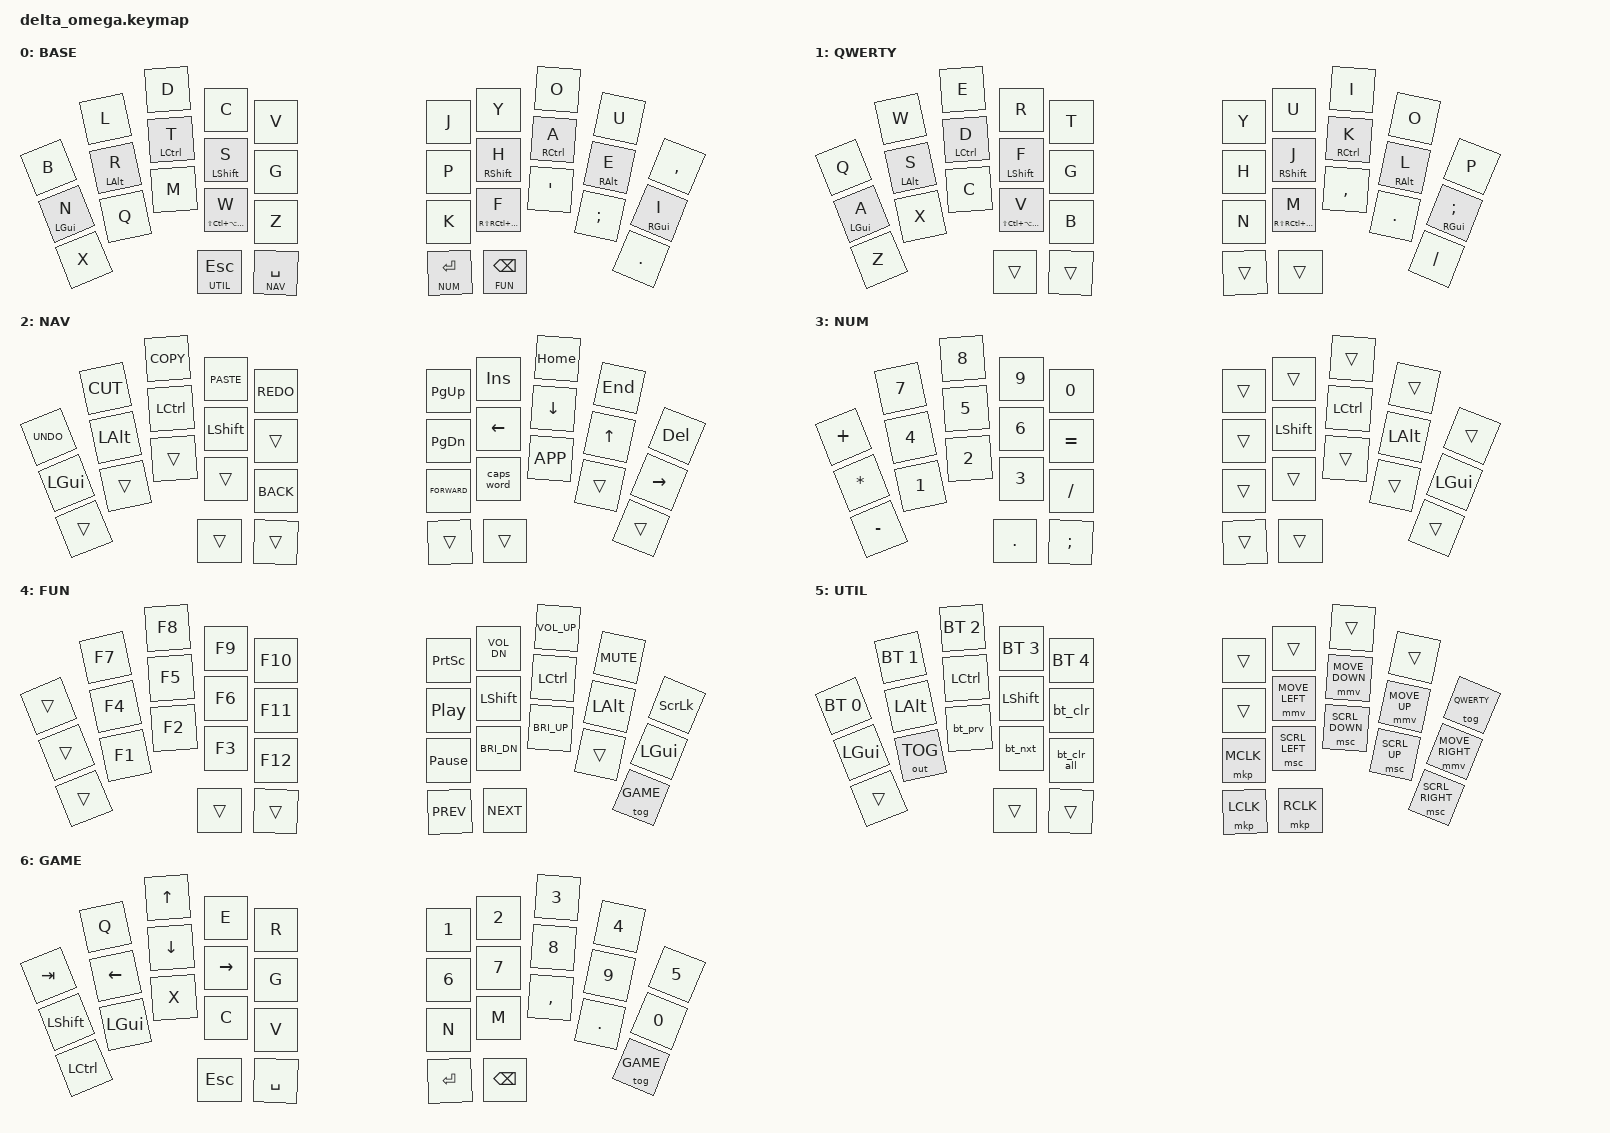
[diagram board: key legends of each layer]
// Delta Omega — Gallium layout ported from totem
// Home row mods (GACS), combos, mod-morphs, caps word
// ── Mouse speed tuning ──────────────────────────────────────────────

#define MOUSE_TIME_TO_MAX_SPEED 800
#define U_MOUSE_MOVE_MAX 3000
#define U_MOUSE_SCROLL_MAX 20

// Must precede pointing.h so the defaults are overridden

#define ZMK_POINTING_DEFAULT_MOVE_VAL U_MOUSE_MOVE_MAX
#define ZMK_POINTING_DEFAULT_SCRL_VAL U_MOUSE_SCROLL_MAX

#include <behaviors.dtsi>
#include <behaviors/rgbled_widget.dtsi>
#include <dt-bindings/zmk/bt.h>
#include <dt-bindings/zmk/keys.h>
#include <dt-bindings/zmk/outputs.h>
#include <dt-bindings/zmk/pointing.h>

#define BASE   0
#define QWERTY 1
#define NAV    2
#define NUM    3
#define FUN    4
#define UTIL   5
#define GAME   6

// Key position groups (34-key, no side keys):
//          0  1  2  3  4     5  6  7  8  9       <- top
//         10 11 12 13 14    15 16 17 18 19       <- home
//         20 21 22 23 24    25 26 27 28 29       <- bottom
//                     30 31    32 33              <- thumbs

#define KEYS_L 0 1 2 3 4 10 11 12 13 14 20 21 22 23 24
#define KEYS_R 5 6 7 8 9 15 16 17 18 19 25 26 27 28 29
#define THUMBS 30 31 32 33

// Mouse behavior tuning

&mmv { time-to-max-speed-ms = <MOUSE_TIME_TO_MAX_SPEED>; };

&msc { time-to-max-speed-ms = <MOUSE_TIME_TO_MAX_SPEED>; };

/ {
    macros {
        bt_nxt: bt_nxt {
            compatible = "zmk,behavior-macro";
            #binding-cells = <0>;
            bindings = <&bt BT_NXT>, <&ind_nxt>;
        };

        bt_prv: bt_prv {
            compatible = "zmk,behavior-macro";
            #binding-cells = <0>;
            bindings = <&bt BT_PRV>, <&ind_prv>;
        };

        bt_clr: bt_clr {
            compatible = "zmk,behavior-macro";
            #binding-cells = <0>;
            bindings = <&bt BT_CLR>, <&ind_clr>;
        };

        bt_clr_all: bt_clr_all {
            compatible = "zmk,behavior-macro";
            #binding-cells = <0>;
            bindings = <&bt BT_CLR_ALL>, <&ind_clr_all>;
        };
    };

    behaviors {
        // ── Home Row Mods (left hand) ──
        // Positional: hold only triggers on right-hand keys + thumbs

        hml: home_row_mod_left {
            compatible = "zmk,behavior-hold-tap";
            #binding-cells = <2>;
            flavor = "balanced";
            tapping-term-ms = <280>;
            quick-tap-ms = <175>;
            require-prior-idle-ms = <150>;
            bindings = <&kp>, <&kp>;

            hold-trigger-key-positions = <KEYS_R THUMBS>;
            hold-trigger-on-release;
        };

        // ── Home Row Mods (right hand) ──
        // Positional: hold only triggers on left-hand keys + thumbs

        hmr: home_row_mod_right {
            compatible = "zmk,behavior-hold-tap";
            #binding-cells = <2>;
            flavor = "balanced";
            tapping-term-ms = <280>;
            quick-tap-ms = <175>;
            require-prior-idle-ms = <150>;
            bindings = <&kp>, <&kp>;

            hold-trigger-key-positions = <KEYS_L THUMBS>;
            hold-trigger-on-release;
        };

        // ── Thumb Layer-Tap ──
        // Fast activation: balanced, 200ms

        lt_th: layer_tap_thumb {
            compatible = "zmk,behavior-hold-tap";
            #binding-cells = <2>;
            flavor = "balanced";
            tapping-term-ms = <200>;
            quick-tap-ms = <200>;
            require-prior-idle-ms = <0>;
            bindings = <&mo>, <&kp>;
        };

        // Hold for 3s to soft-off, tap does nothing
        ht_off: hold_tap_soft_off {
            compatible = "zmk,behavior-hold-tap";
            #binding-cells = <2>;
            flavor = "hold-preferred";
            tapping-term-ms = <3000>;
            bindings = <&soft_off>, <&none>;
        };

    };

    // ══════════════════════════════════════════════════════════════
    // Combos — adapted for 34-key layout
    // ══════════════════════════════════════════════════════════════

    combos {
        compatible = "zmk,combos";

        // ── Vertical combos (top + home row) ─────────────────────
        // 80ms timeout, 150ms prior-idle

        combo_play_pause {
            timeout-ms = <80>;
            key-positions = <0 10>;
            bindings = <&kp C_PLAY_PAUSE>;
            require-prior-idle-ms = <150>;
            layers = <BASE>;
        };

        combo_at {
            timeout-ms = <80>;
            key-positions = <1 11>;
            bindings = <&kp AT>;
            require-prior-idle-ms = <150>;
            layers = <BASE>;
        };

        combo_hash {
            timeout-ms = <80>;
            key-positions = <2 12>;
            bindings = <&kp HASH>;
            require-prior-idle-ms = <150>;
            layers = <BASE>;
        };

        combo_dllr {
            timeout-ms = <80>;
            key-positions = <3 13>;
            bindings = <&kp DLLR>;
            require-prior-idle-ms = <150>;
            layers = <BASE>;
        };

        combo_prcnt {
            timeout-ms = <80>;
            key-positions = <4 14>;
            bindings = <&kp PRCNT>;
            require-prior-idle-ms = <150>;
            layers = <BASE>;
        };

        combo_caret {
            timeout-ms = <80>;
            key-positions = <5 15>;
            bindings = <&kp CARET>;
            require-prior-idle-ms = <150>;
            layers = <BASE>;
        };

        combo_plus {
            timeout-ms = <80>;
            key-positions = <6 16>;
            bindings = <&kp PLUS>;
            require-prior-idle-ms = <150>;
            layers = <BASE>;
        };

        combo_star {
            timeout-ms = <80>;
            key-positions = <7 17>;
            bindings = <&kp STAR>;
            require-prior-idle-ms = <150>;
            layers = <BASE>;
        };

        combo_amps {
            timeout-ms = <80>;
            key-positions = <8 18>;
            bindings = <&kp AMPS>;
            require-prior-idle-ms = <150>;
            layers = <BASE>;
        };

        combo_vol_up {
            timeout-ms = <80>;
            key-positions = <9 19>;
            bindings = <&kp C_VOL_UP>;
            require-prior-idle-ms = <150>;
            layers = <BASE>;
        };

        // ── Vertical combos (home + bottom row) ──────────────────

        combo_mute {
            timeout-ms = <80>;
            key-positions = <10 20>;
            bindings = <&kp K_MUTE>;
            require-prior-idle-ms = <150>;
            layers = <BASE>;
        };

        combo_grave {
            timeout-ms = <80>;
            key-positions = <11 21>;
            bindings = <&kp GRAVE>;
            require-prior-idle-ms = <150>;
            layers = <BASE>;
        };

        combo_bslh {
            timeout-ms = <80>;
            key-positions = <12 22>;
            bindings = <&kp BSLH>;
            require-prior-idle-ms = <150>;
            layers = <BASE>;
        };

        combo_equal {
            timeout-ms = <80>;
            key-positions = <13 23>;
            bindings = <&kp EQUAL>;
            require-prior-idle-ms = <150>;
            layers = <BASE>;
        };

        combo_tilde {
            timeout-ms = <80>;
            key-positions = <14 24>;
            bindings = <&kp TILDE>;
            require-prior-idle-ms = <150>;
            layers = <BASE>;
        };

        combo_under {
            timeout-ms = <80>;
            key-positions = <15 25>;
            bindings = <&kp UNDER>;
            require-prior-idle-ms = <150>;
            layers = <BASE>;
        };

        combo_minus {
            timeout-ms = <80>;
            key-positions = <16 26>;
            bindings = <&kp MINUS>;
            require-prior-idle-ms = <150>;
            layers = <BASE>;
        };

        combo_fslh {
            timeout-ms = <80>;
            key-positions = <17 27>;
            bindings = <&kp FSLH>;
            require-prior-idle-ms = <150>;
            layers = <BASE>;
        };

        combo_pipe {
            timeout-ms = <80>;
            key-positions = <18 28>;
            bindings = <&kp PIPE>;
            require-prior-idle-ms = <150>;
            layers = <BASE>;
        };

        combo_vol_dn {
            timeout-ms = <80>;
            key-positions = <19 29>;
            bindings = <&kp C_VOL_DN>;
            require-prior-idle-ms = <150>;
            layers = <BASE>;
        };

        // ── Horizontal combos (same row, adjacent) ───────────────
        // 40ms timeout + 280ms prior-idle
        // Top row

        combo_lbkt {
            timeout-ms = <40>;
            key-positions = <6 7>;
            bindings = <&kp LBKT>;
            require-prior-idle-ms = <280>;
            layers = <BASE>;
        };

        combo_rbkt {
            timeout-ms = <40>;
            key-positions = <7 8>;
            bindings = <&kp RBKT>;
            require-prior-idle-ms = <280>;
            layers = <BASE>;
        };

        // Home row

        combo_lt {
            timeout-ms = <40>;
            key-positions = <15 16>;
            bindings = <&kp LT>;
            require-prior-idle-ms = <280>;
            layers = <BASE>;
        };

        combo_lpar {
            timeout-ms = <40>;
            key-positions = <16 17>;
            bindings = <&kp LPAR>;
            require-prior-idle-ms = <280>;
            layers = <BASE>;
        };

        combo_rpar {
            timeout-ms = <40>;
            key-positions = <17 18>;
            bindings = <&kp RPAR>;
            require-prior-idle-ms = <280>;
            layers = <BASE>;
        };

        combo_gt {
            timeout-ms = <40>;
            key-positions = <18 19>;
            bindings = <&kp GT>;
            require-prior-idle-ms = <280>;
            layers = <BASE>;
        };

        // Bottom row

        combo_copy {
            timeout-ms = <40>;
            key-positions = <21 22>;
            bindings = <&kp LC(LS(C))>;
            require-prior-idle-ms = <280>;
            layers = <BASE>;
        };

        combo_paste {
            timeout-ms = <40>;
            key-positions = <22 23>;
            bindings = <&kp LC(LS(V))>;
            require-prior-idle-ms = <280>;
            layers = <BASE>;
        };

        combo_cut {
            timeout-ms = <40>;
            key-positions = <21 23>;
            bindings = <&kp LC(X)>;
            require-prior-idle-ms = <280>;
            layers = <BASE>;
        };

        combo_lbrc {
            timeout-ms = <40>;
            key-positions = <26 27>;
            bindings = <&kp LBRC>;
            require-prior-idle-ms = <280>;
            layers = <BASE>;
        };

        combo_rbrc {
            timeout-ms = <40>;
            key-positions = <27 28>;
            bindings = <&kp RBRC>;
            require-prior-idle-ms = <280>;
            layers = <BASE>;
        };

        // ── Multi-key / special combos ───────────────────────────

        combo_tab {
            timeout-ms = <50>;
            key-positions = <11 12 13>;
            bindings = <&kp TAB>;
            require-prior-idle-ms = <200>;
            layers = <BASE>;
        };

        combo_caps_word {
            timeout-ms = <80>;
            key-positions = <13 16>;
            bindings = <&caps_word>;
            require-prior-idle-ms = <150>;
            layers = <BASE>;
        };

        combo_studio_unlock {
            timeout-ms = <80>;
            key-positions = <30 33>;
            bindings = <&studio_unlock>;
            require-prior-idle-ms = <150>;
        };

        combo_soft_off_left {
            bindings = <&ht_off 0 0>;
            key-positions = <30 31>;
            timeout-ms = <50>;
        };

        combo_soft_off_right {
            bindings = <&ht_off 0 0>;
            key-positions = <32 33>;
            timeout-ms = <50>;
        };
    };

    // ══════════════════════════════════════════════════════════════
    // Keymap — 7 layers
    // ══════════════════════════════════════════════════════════════

    keymap {
        compatible = "zmk,keymap";

        base_layer {
            display-name = "BASE";
            bindings = <
       &kp B        &kp L        &kp D            &kp C                    &kp V    &kp J  &kp Y                    &kp O                 &kp U        &kp COMMA
       &hml LGUI N  &hml LALT R  &hml LCTRL T     &hml LSHFT S             &kp G    &kp P  &hmr RSHFT H             &hmr RCTRL A          &hmr RALT E  &hmr RGUI I
       &kp X        &kp Q        &kp M            &hml LS(LC(LA(LGUI))) W  &kp Z    &kp K  &hmr RS(RC(RA(RGUI))) F  &kp SQT               &kp SEMI     &kp PERIOD
                                                   &lt_th UTIL ESC         &lt_th NAV SPACE    &lt_th NUM ENTER         &lt_th FUN BACKSPACE
            >;
        };

        qwerty_layer {
            display-name = "QWERTY";
            bindings = <
       &kp Q        &kp W        &kp E            &kp R                    &kp T    &kp Y  &kp U                    &kp I                 &kp O        &kp P
       &hml LGUI A  &hml LALT S  &hml LCTRL D     &hml LSHFT F             &kp G    &kp H  &hmr RSHFT J             &hmr RCTRL K          &hmr RALT L  &hmr RGUI SEMI
       &kp Z        &kp X        &kp C            &hml LS(LC(LA(LGUI))) V  &kp B    &kp N  &hmr RS(RC(RA(RGUI))) M  &kp COMMA             &kp DOT      &kp FSLH
                                                  &trans        &trans            &trans     &trans
            >;
        };

        nav_layer {
            display-name = "NAV";
            bindings = <
       &kp K_UNDO  &kp K_CUT  &kp K_COPY  &kp K_PASTE  &kp K_REDO    &kp PG_UP      &kp INS     &kp HOME   &kp END  &kp DEL
       &kp LGUI    &kp LALT   &kp LCTRL   &kp LSHFT    &trans        &kp PG_DN      &kp LEFT    &kp DOWN   &kp UP   &kp RIGHT
       &trans      &trans     &trans      &trans       &kp K_BACK    &kp K_FORWARD  &caps_word  &kp K_APP  &trans   &trans
                                           &trans       &trans        &trans         &trans
            >;
        };

        num_layer {
            display-name = "NUM";
            bindings = <
       &kp PLUS   &kp N7  &kp N8   &kp N9    &kp N0       &trans  &trans     &trans     &trans    &trans
       &kp STAR   &kp N4  &kp N5   &kp N6    &kp EQUAL    &trans  &kp LSHFT  &kp LCTRL  &kp LALT  &kp LGUI
       &kp MINUS  &kp N1  &kp N2   &kp N3    &kp FSLH     &trans  &trans     &trans     &trans    &trans
                                    &kp DOT   &kp SEMI     &trans  &trans
            >;
        };

        fun_layer {
            display-name = "FUN";
            bindings = <
       &trans  &kp F7  &kp F8  &kp F9  &kp F10    &kp PSCRN        &kp C_VOL_DN  &kp C_VOL_UP  &kp C_MUTE  &kp SLCK
       &trans  &kp F4  &kp F5  &kp F6  &kp F11    &kp C_PP         &kp LSHFT     &kp LCTRL     &kp LALT    &kp LGUI
       &trans  &kp F1  &kp F2  &kp F3  &kp F12    &kp PAUSE_BREAK  &kp C_BRI_DN  &kp C_BRI_UP  &trans      &tog GAME
                                &trans  &trans     &kp C_PREV       &kp C_NEXT
            >;
        };

        util_layer {
            display-name = "UTIL";
            bindings = <
       &bt BT_SEL 0  &bt BT_SEL 1  &bt BT_SEL 2  &bt BT_SEL 3  &bt BT_SEL 4      &trans     &trans          &trans          &trans        &tog QWERTY
       &kp LGUI      &kp LALT      &kp LCTRL     &kp LSHFT     &bt_clr           &trans     &mmv MOVE_LEFT  &mmv MOVE_DOWN  &mmv MOVE_UP  &mmv MOVE_RIGHT
       &trans        &out OUT_TOG  &bt_prv       &bt_nxt       &bt_clr_all       &mkp MCLK  &msc SCRL_LEFT  &msc SCRL_DOWN  &msc SCRL_UP  &msc SCRL_RIGHT
                                                  &trans        &trans            &mkp LCLK  &mkp RCLK
            >;
        };

        game_layer {
            display-name = "GAME";
            bindings = <
       &kp TAB         &kp Q         &kp UP_ARROW  &kp E            &kp R     &kp N1  &kp N2     &kp N3         &kp N4   &kp N5
       &kp LEFT_SHIFT  &kp LEFT      &kp DOWN      &kp RIGHT_ARROW  &kp G     &kp N6  &kp N7     &kp N8         &kp N9   &kp N0
       &kp LCTRL       &kp LEFT_GUI  &kp X         &kp C            &kp V     &kp N   &kp M      &kp COMMA      &kp DOT  &tog GAME
                                                    &kp ESC          &kp SPACE    &kp ENTER  &kp BACKSPACE
            >;
        };
    };
};
